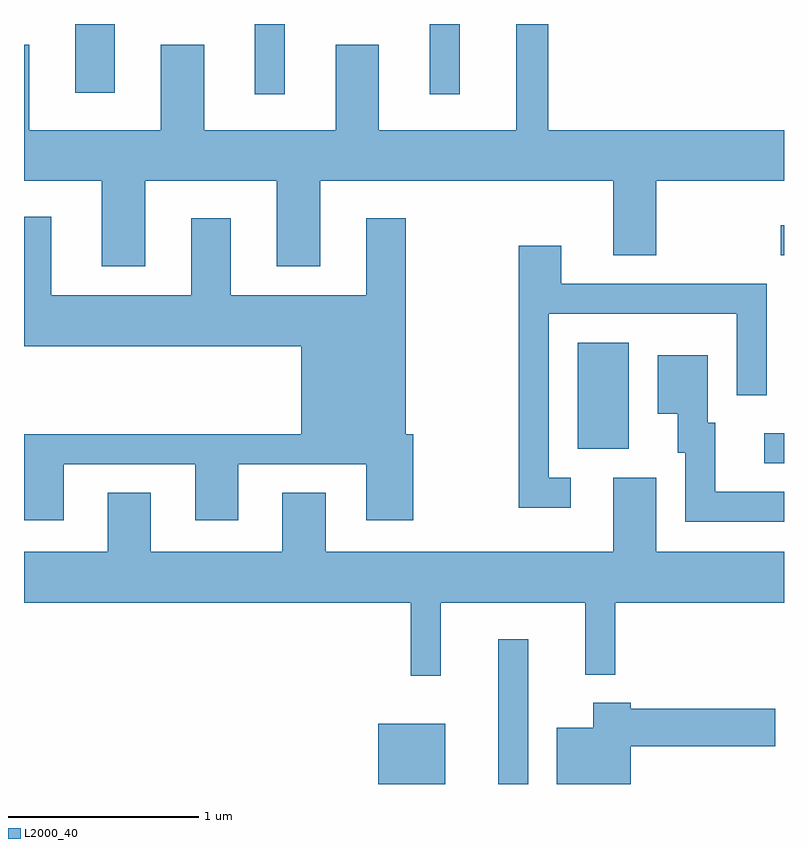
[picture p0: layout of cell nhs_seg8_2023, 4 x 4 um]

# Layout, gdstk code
import gdstk
lib = gdstk.Library(unit=1e-6, precision=1e-09)
def R(c, l, rs):  # rectangles x0, y0, x1, y1
    for r in rs: c.add(gdstk.rectangle(r[:2], r[2:], *l))
def P(c, l, *ps):  # polygons
    for p in ps: c.add(gdstk.Polygon(p, *l))
L2000_40 = (2000, 40)

nhs_seg8_2023 = lib.new_cell('nhs_seg8_2023')
R(nhs_seg8_2023, L2000_40, [(247.476,1844.342,247.829,1844.659), (248.106,1844.342,248.264,1845.103), (249.508,1846.031,249.611,1846.189), (248.526,1846.106,248.794,1846.664), (249.593,1847.126,249.611,1847.284), (246.826,1847.973,246.984,1848.342), (247.746,1847.973,247.904,1848.342), (245.881,1847.981,246.089,1848.342)])
P(nhs_seg8_2023, L2000_40, [(246.249,1847.516),(246.941,1847.516),(246.941,1847.066),(247.169,1847.066),(247.169,1847.516),(248.711,1847.516),(248.711,1847.126),(248.939,1847.126),(248.939,1847.516),(249.611,1847.516),(249.611,1847.784),(248.369,1847.784),(248.369,1848.342),(248.201,1848.342),(248.201,1847.784),(247.479,1847.784),(247.479,1848.234),(247.251,1848.234),(247.251,1847.784),(246.559,1847.784),(246.559,1848.234),(246.331,1848.234),(246.331,1847.784),(245.639,1847.784),(245.639,1848.234),(245.611,1848.234),(245.611,1847.516),(246.021,1847.516),(246.021,1847.066),(246.249,1847.066)],
  [(245.819,1846.026),(246.511,1846.026),(246.511,1845.731),(246.739,1845.731),(246.739,1846.026),(247.411,1846.026),(247.411,1845.731),(247.659,1845.731),(247.659,1846.184),(247.619,1846.184),(247.619,1847.319),(247.411,1847.319),(247.411,1846.914),(246.699,1846.914),(246.699,1847.319),(246.491,1847.319),(246.491,1846.914),(245.754,1846.914),(245.754,1847.328),(245.611,1847.328),(245.611,1846.646),(247.071,1846.646),(247.071,1846.184),(245.611,1846.184),(245.611,1845.731),(245.819,1845.731)],
  [(248.488,1845.954),(248.374,1845.954),(248.374,1846.816),(249.361,1846.816),(249.361,1846.388),(249.519,1846.388),(249.519,1846.974),(248.439,1846.974),(248.439,1847.174),(248.216,1847.174),(248.216,1845.796),(248.488,1845.796)],
  [(249.611,1845.879),(249.249,1845.879),(249.249,1846.244),(249.209,1846.244),(249.209,1846.599),(248.946,1846.599),(248.946,1846.291),(249.051,1846.291),(249.051,1846.086),(249.091,1846.086),(249.091,1845.721),(249.611,1845.721)],
  [(247.804,1845.296),(248.566,1845.296),(248.566,1844.918),(248.724,1844.918),(248.724,1845.296),(249.611,1845.296),(249.611,1845.564),(248.939,1845.564),(248.939,1845.954),(248.711,1845.954),(248.711,1845.564),(247.199,1845.564),(247.199,1845.874),(246.971,1845.874),(246.971,1845.564),(246.279,1845.564),(246.279,1845.874),(246.051,1845.874),(246.051,1845.564),(245.611,1845.564),(245.611,1845.296),(247.646,1845.296),(247.646,1844.913),(247.804,1844.913)],
  [(248.804,1844.541),(249.564,1844.541),(249.564,1844.739),(248.804,1844.739),(248.804,1844.769),(248.606,1844.769),(248.606,1844.639),(248.416,1844.639),(248.416,1844.342),(248.804,1844.342)])

lib.write_gds('nhs_seg8_2023.gds')
